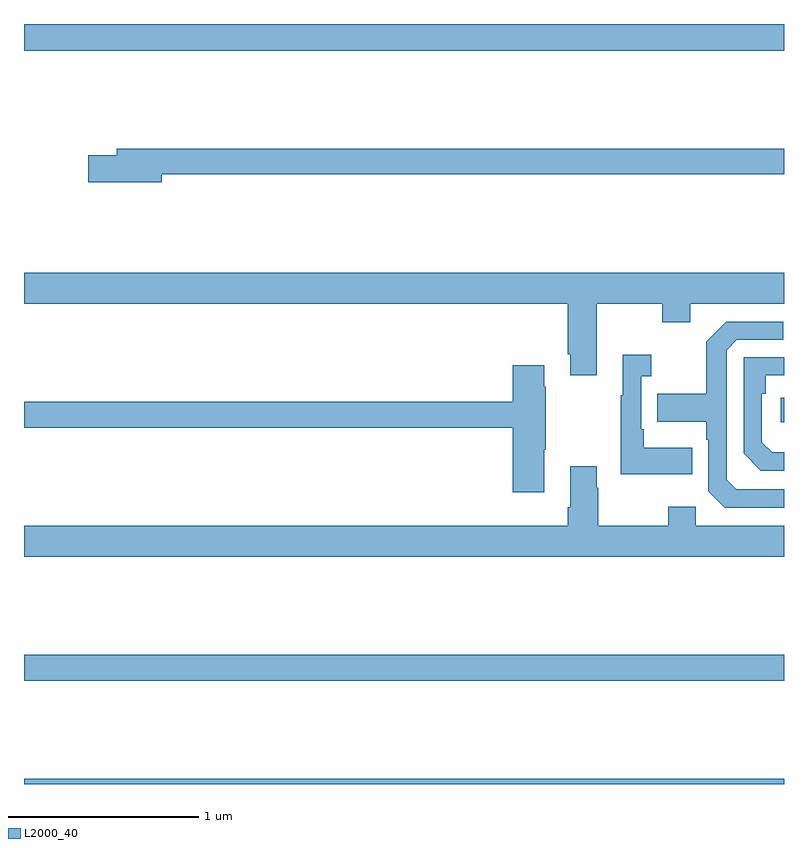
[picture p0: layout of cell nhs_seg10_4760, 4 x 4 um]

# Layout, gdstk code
import gdstk
lib = gdstk.Library(unit=1e-6, precision=1e-09)
def R(c, l, rs):  # rectangles x0, y0, x1, y1
    for r in rs: c.add(gdstk.rectangle(r[:2], r[2:], *l))
def P(c, l, *ps):  # polygons
    for p in ps: c.add(gdstk.Polygon(p, *l))
L2000_40 = (2000, 40)

nhs_seg10_4760 = lib.new_cell('nhs_seg10_4760')
R(nhs_seg10_4760, L2000_40, [(385,1252.5,389,1252.528), (385,1253.044,389,1253.18), (388.983,1254.404,389,1254.534), (385,1256.36,389,1256.5)])
P(nhs_seg10_4760, L2000_40, [(385.726,1255.708),(389,1255.708),(389,1255.844),(385.487,1255.844),(385.487,1255.808),(385.338,1255.808),(385.338,1255.666),(385.726,1255.666)],
  [(388.015,1255.028),(388.36,1255.028),(388.36,1254.929),(388.507,1254.929),(388.507,1255.028),(389,1255.028),(389,1255.192),(385,1255.192),(385,1255.028),(387.863,1255.028),(387.863,1254.763),(387.875,1254.763),(387.875,1254.651),(388.015,1254.651)],
  [(389,1254.051),(388.749,1254.051),(388.698,1254.102),(388.698,1254.783),(388.752,1254.837),(388.996,1254.837),(388.996,1254.933),(388.695,1254.933),(388.59,1254.827),(388.59,1254.555),(388.333,1254.555),(388.333,1254.407),(388.59,1254.407),(388.59,1254.311),(388.602,1254.311),(388.602,1254.042),(388.689,1253.955),(389,1253.955)],
  [(388.517,1254.271),(388.261,1254.271),(388.261,1254.367),(388.248,1254.367),(388.248,1254.647),(388.3,1254.647),(388.3,1254.76),(388.151,1254.76),(388.151,1254.547),(388.14,1254.547),(388.14,1254.131),(388.517,1254.131)],
  [(389,1254.247),(388.937,1254.247),(388.884,1254.3),(388.884,1254.554),(388.904,1254.554),(388.904,1254.651),(389,1254.651),(389,1254.747),(388.788,1254.747),(388.788,1254.24),(388.878,1254.15),(389,1254.15)],
  [(387.739,1254.259),(387.747,1254.259),(387.747,1254.59),(387.739,1254.59),(387.739,1254.703),(387.572,1254.703),(387.572,1254.512),(385,1254.512),(385,1254.376),(387.572,1254.376),(387.572,1254.036),(387.739,1254.036)],
  [(389,1253.86),(388.536,1253.86),(388.536,1253.959),(388.39,1253.959),(388.39,1253.86),(388.023,1253.86),(388.023,1254.059),(388.015,1254.059),(388.015,1254.172),(387.875,1254.172),(387.875,1253.956),(387.863,1253.956),(387.863,1253.86),(385,1253.86),(385,1253.696),(389,1253.696)])

lib.write_gds('nhs_seg10_4760.gds')
